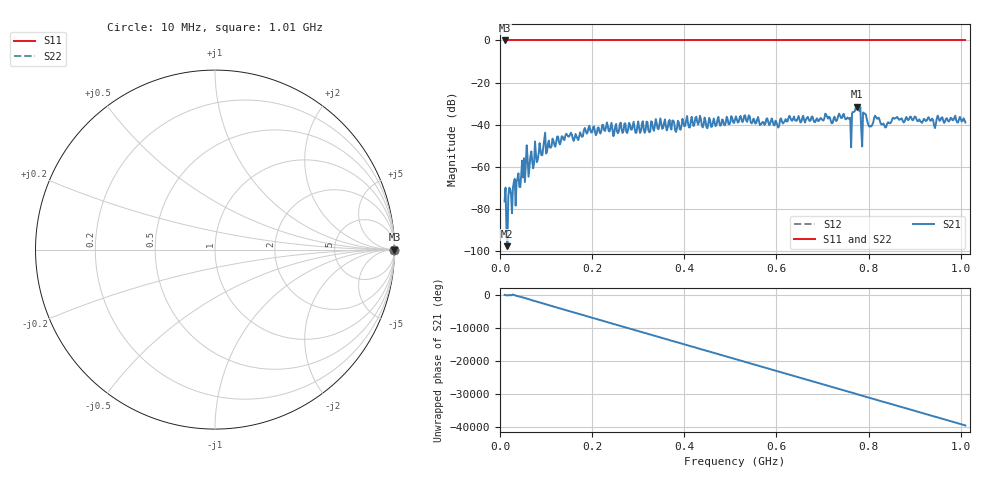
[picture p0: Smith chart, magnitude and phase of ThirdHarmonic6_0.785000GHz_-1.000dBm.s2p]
! 8/16/2025 2:12:28 AM
! C:\ANRITSUVNA\TEMP\TEMP.S2P
! CHANNEL.1
! TR.MEASUREMENT
! RAW.DATA
! RF.CORRECTION.OFF
! AVERAGING.OFF
! IF.BANDWIDTH: 5KHZ
! SWEEPTYPE:  FREQ.SWEEP(Linear)
! Reference Plane Port Info
! PORT:  PORT1  PORT2
! DISTANCE:  0  m  0  m
! TIME:  0  s  0  s
! PHASE.OFFSET:  0  deg.  0  deg.
! LOSS:  0  dB  0  dB
! REF.LOSS:  0  dB  0  dB
! REF.FREQ:  0  Hz  0  Hz
! Power Info
! POWER:  -20  dBm  -20  dBm
! EFF.POWER:  -20  dBm  -20  dBm
! SOURCE.ATTEN:  0  dB  0  dB
! TEST.ATTEN:  0  dB  0  dB
# GHZ S RI R 50.0
! FREQ.GHZ  S11RE  S11IM  S21RE  S21IM  S12RE  S12IM  S22RE  S22IM
!; PortSelection: Port_12
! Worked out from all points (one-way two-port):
!   501 points, 10 MHz to 1.01 GHz, reference 50 ohm
!   highest |S21| = -31.43 dB at 774 MHz (marker M1); lowest = -97.8 dB at 16 MHz (marker M2)
!   lowest |S11| = 0.0 dB at 10 MHz (marker M3)
!   |S11| at or under -10 dB: nowhere
!   |S22| runs from 0.0 to 0.0 dB; largest |S21 - S12| = 1
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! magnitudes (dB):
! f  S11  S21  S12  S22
! 10 MHz  0.0  -76.5  0.0  0.0
! 16 MHz  0.0  -97.8  0.0  0.0
! 30 MHz  0.0  -67.5  0.0  0.0
! 56 MHz  0.0  -58.2  0.0  0.0
! 66 MHz  0.0  -55.1  0.0  0.0
! 94 MHz  0.0  -50.6  0.0  0.0
! 178 MHz  0.0  -45.8  0.0  0.0
! 344 MHz  0.0  -42.2  0.0  0.0
! 510 MHz  0.0  -37.7  0.0  0.0
! 602 MHz  0.0  -40.3  0.0  0.0
! 678 MHz  0.0  -36.1  0.0  0.0
! 742 MHz  0.0  -36.9  0.0  0.0
! 756 MHz  0.0  -37.0  0.0  0.0
! 758 MHz  0.0  -37.3  0.0  0.0
! 774 MHz  0.0  -31.4  0.0  0.0
! 788 MHz  0.0  -34.2  0.0  0.0
! 792 MHz  0.0  -34.7  0.0  0.0
! 804 MHz  0.0  -40.6  0.0  0.0
! 816 MHz  0.0  -36.4  0.0  0.0
! 844 MHz  0.0  -39.0  0.0  0.0
! 858 MHz  0.0  -37.0  0.0  0.0
! 1.01 GHz  0.0  -39.0  0.0  0.0
